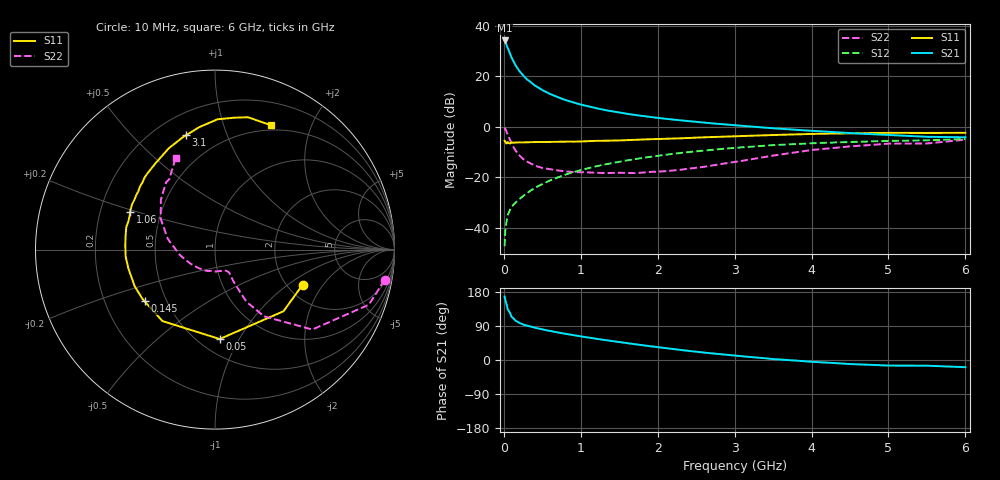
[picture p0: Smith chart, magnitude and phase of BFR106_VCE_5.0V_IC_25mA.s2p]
! Infineon Technologies  Discrete & RF Semiconductors
! BFR106
! VCE =  5.0 V,  IC =  25 mA
! Common Emitter S-Parameters:  Nov 2015
# GHz  S  MA  R  50
!  f  S11  S21  S12  S22
! GHz  MAG  ANG  MAG  ANG  MAG  ANG  MAG  ANG
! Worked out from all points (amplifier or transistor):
!   210 points, 10 MHz to 6 GHz, reference 50 ohm
!   highest |S21| = 34.2 dB at 10 MHz (marker M1)
!   |S21| within 3 dB of that: start of sweep to 50.75 MHz
!   unconditionally stable (mu >= 1): 364.3 MHz to 2.153 GHz
!   at 185 MHz: K = 0.81, MSG = 26.0 dB, |S12| = -29.1 dB
!   at 1.52 GHz: K = 1.05, MAG = 8.3 dB, |S12| = -13.7 dB
!   at 6 GHz: K = 0.99, MSG = 0.3 dB, |S12| = -4.8 dB
!   S11 on the Smith chart (normalised r, x): 10 MHz: 2.41, -1.31; 50 MHz: 0.63, -0.83; 145 MHz: 0.38, -0.29; 1.06 GHz: 0.33, +0.19; 3.1 GHz: 0.32, +0.72; 6 GHz: 0.44, +1.46
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0.01  0.5261 -21.9  51.56 167.4  0.0043 82.4  0.9601 -10.1
0.02  0.5134 -42.0  48.57 157.2  0.0089 74.5  0.9107 -19.7
0.05  0.4989 -87.0  36.73 133.6  0.0176 60.9  0.7016 -39.4
0.1  0.4942 -126.3  23.58 114.2  0.0259 55.9  0.4612 -53.7
0.145  0.4866 -143.7  17.35 105.2  0.0308 56.0  0.3512 -58.2
0.15  0.4885 -145.6  16.69 103.8  0.0313 56.0  0.3392 -58.9
0.2  0.4919 -155.4  12.91 98.2  0.0366 59.2  0.2736 -59.4
0.24  0.4903 -161.2  10.9 94.6  0.0412 60.8  0.2377 -59.6
0.26  0.491 -163.8  10.08 93.0  0.0436 61.8  0.2238 -59.7
0.3  0.4942 -168.1  8.747 90.4  0.0483 63.7  0.2044 -59.9
0.4  0.4993 -175.8  6.639 85.2  0.061 66.1  0.1708 -58.9
0.5  0.5003 178.5  5.34 80.6  0.073 67.3  0.1526 -58.2
0.6  0.5027 173.2  4.486 76.5  0.0863 67.7  0.1439 -59.2
0.8  0.5102 165.7  3.398 69.1  0.1126 67.5  0.1304 -63.2
1.02  0.5137 157.3  2.716 61.7  0.141 66.0  0.126 -69.1
1.06  0.517 156.0  2.625 60.4  0.1462 65.8  0.1252 -70.8
1.4  0.534 145.5  2.034 50.3  0.1901 62.4  0.1222 -84.9
2.02  0.5727 129.0  1.491 33.4  0.2688 54.5  0.1298 -119.5
3.1  0.6568 104.3  1.046 9.8  0.3923 38.6  0.2122 -177.8
4.1  0.7284 87.5  0.816 -5.8  0.4791 23.4  0.3576 147.6
5.1  0.7585 74.7  0.678 -14.8  0.5286 9.9  0.4642 125.5
6  0.7607 65.6  0.62 -19.0  0.5737 -0.4  0.5574 113.1
